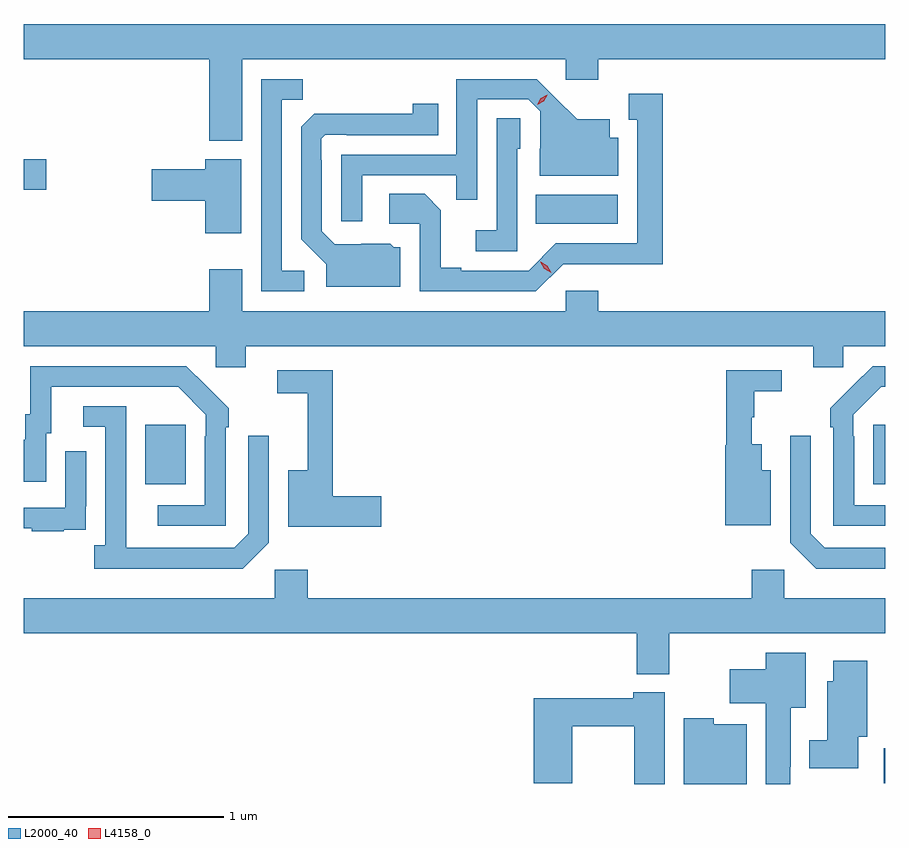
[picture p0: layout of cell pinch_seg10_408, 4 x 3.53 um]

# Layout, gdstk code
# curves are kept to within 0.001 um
import gdstk
lib = gdstk.Library(unit=1e-6, precision=1e-09)
def R(c, l, rs):  # rectangles x0, y0, x1, y1
    for r in rs: c.add(gdstk.rectangle(r[:2], r[2:], *l))
def P(c, l, *ps):  # polygons
    for p in ps: c.add(gdstk.Polygon(p, *l))
L2000_40 = (2000, 40)
L4158_0 = (4158, 0)

pinch_seg10_408 = lib.new_cell('pinch_seg10_408')
R(pinch_seg10_408, L2000_40, [(367.866,1318.268,367.874,1318.431), (364.439,1319.657,364.627,1319.932), (367.817,1319.657,367.874,1319.932), (366.25,1320.866,366.631,1321), (363.874,1321.022,363.979,1321.164)])
P(pinch_seg10_408, L2000_40, [(364.888,1321.628),(366.39,1321.628),(366.39,1321.533),(366.542,1321.533),(366.542,1321.628),(367.874,1321.628),(367.874,1321.792),(363.874,1321.792),(363.874,1321.628),(364.736,1321.628),(364.736,1321.25),(364.888,1321.25)],
  [(365.445,1321.089),(365.881,1321.089),(365.881,1320.976),(365.979,1320.976),(365.979,1321.443),(366.216,1321.443),(366.273,1321.386),(366.273,1321.212),(366.269,1321.212),(366.269,1321.088),(366.634,1321.088),(366.634,1321.264),(366.595,1321.264),(366.595,1321.351),(366.443,1321.351),(366.256,1321.536),(365.883,1321.536),(365.883,1321.185),(365.349,1321.185),(365.349,1320.876),(365.445,1320.876)],
  [(365.176,1320.648),(365.073,1320.648),(365.073,1321.441),(365.169,1321.441),(365.169,1321.536),(364.977,1321.536),(364.977,1320.552),(365.176,1320.552)],
  [(366.378,1320.678),(366.841,1320.677),(366.841,1321.468),(366.683,1321.468),(366.683,1321.347),(366.722,1321.347),(366.722,1320.774),(366.345,1320.774),(366.219,1320.648),(365.905,1320.648),(365.905,1320.661),(365.811,1320.661),(365.811,1320.928),(365.735,1321.004),(365.571,1321.004),(365.571,1320.864),(365.712,1320.864),(365.712,1320.552),(366.252,1320.552)],
  [(365.623,1320.756),(365.592,1320.756),(365.576,1320.772),(365.319,1320.771),(365.259,1320.831),(365.259,1321.16),(365.256,1321.16),(365.256,1321.26),(365.274,1321.278),(365.374,1321.278),(365.374,1321.275),(365.798,1321.275),(365.798,1321.423),(365.68,1321.423),(365.68,1321.376),(365.222,1321.375),(365.163,1321.316),(365.163,1320.794),(365.279,1320.678),(365.279,1320.572),(365.623,1320.572)],
  [(366.165,1321.212),(366.18,1321.212),(366.18,1321.355),(366.069,1321.355),(366.069,1320.835),(365.973,1320.835),(365.973,1320.738),(366.165,1320.738)],
  [(364.885,1321.165),(364.718,1321.165),(364.718,1321.118),(364.47,1321.118),(364.47,1320.971),(364.718,1320.971),(364.718,1320.822),(364.885,1320.822)],
  [(366.39,1320.553),(366.39,1320.46),(364.888,1320.46),(364.888,1320.655),(364.736,1320.655),(364.736,1320.46),(363.874,1320.46),(363.874,1320.296),(364.767,1320.296),(364.767,1320.198),(364.906,1320.198),(364.906,1320.296),(367.538,1320.296),(367.538,1320.198),(367.677,1320.198),(367.677,1320.296),(367.874,1320.296),(367.874,1320.46),(366.542,1320.46),(366.542,1320.553)],
  [(364.812,1319.921),(364.827,1319.921),(364.827,1320.009),(364.63,1320.204),(363.906,1320.204),(363.906,1319.982),(363.881,1319.982),(363.881,1319.863),(363.874,1319.863),(363.874,1319.667),(363.979,1319.667),(363.979,1319.892),(364.003,1319.892),(364.003,1320.108),(364.591,1320.108),(364.719,1319.979),(364.719,1319.879),(364.716,1319.879),(364.716,1319.559),(364.497,1319.559),(364.497,1319.463),(364.812,1319.463)],
  [(367.874,1319.559),(367.728,1319.559),(367.728,1319.879),(367.725,1319.879),(367.725,1319.979),(367.854,1320.108),(367.874,1320.108),(367.874,1320.204),(367.814,1320.204),(367.617,1320.009),(367.617,1319.921),(367.632,1319.921),(367.632,1319.463),(367.874,1319.463)],
  [(365.533,1319.6),(365.309,1319.6),(365.309,1320.186),(365.052,1320.186),(365.052,1320.078),(365.192,1320.078),(365.192,1319.722),(365.102,1319.722),(365.102,1319.458),(365.533,1319.458)],
  [(367.342,1319.722),(367.3,1319.722),(367.3,1319.842),(367.253,1319.842),(367.253,1319.966),(367.264,1319.966),(367.264,1320.088),(367.393,1320.088),(367.393,1320.186),(367.135,1320.186),(367.135,1319.838),(367.13,1319.838),(367.13,1319.465),(367.342,1319.465)],
  [(365.013,1319.385),(365.013,1319.881),(364.917,1319.881),(364.917,1319.427),(364.851,1319.361),(364.351,1319.361),(364.35,1320.018),(364.152,1320.018),(364.152,1319.922),(364.254,1319.922),(364.254,1319.374),(364.203,1319.374),(364.203,1319.264),(364.892,1319.264)],
  [(367.874,1319.361),(367.593,1319.361),(367.527,1319.427),(367.527,1319.881),(367.431,1319.881),(367.431,1319.385),(367.552,1319.264),(367.874,1319.264)],
  [(364.061,1319.445),(364.163,1319.445),(364.163,1319.554),(364.164,1319.554),(364.164,1319.809),(364.068,1319.809),(364.068,1319.547),(363.874,1319.547),(363.874,1319.451),(363.913,1319.451),(363.913,1319.439),(364.061,1319.439)],
  [(366.871,1318.964),(367.874,1318.964),(367.874,1319.128),(367.404,1319.128),(367.404,1319.26),(367.253,1319.26),(367.253,1319.128),(365.192,1319.128),(365.192,1319.26),(365.04,1319.26),(365.04,1319.128),(363.874,1319.128),(363.874,1318.964),(366.719,1318.964),(366.719,1318.775),(366.871,1318.775)],
  [(367.431,1318.345),(367.435,1318.345),(367.435,1318.619),(367.504,1318.619),(367.504,1318.873),(367.319,1318.873),(367.319,1318.798),(367.152,1318.798),(367.152,1318.64),(367.319,1318.64),(367.319,1318.265),(367.431,1318.265)],
  [(367.747,1318.484),(367.789,1318.484),(367.789,1318.837),(367.631,1318.837),(367.631,1318.743),(367.604,1318.743),(367.604,1318.468),(367.52,1318.468),(367.52,1318.337),(367.747,1318.337)],
  [(366.85,1318.69),(366.704,1318.69),(366.704,1318.663),(366.242,1318.663),(366.242,1318.269),(366.42,1318.269),(366.42,1318.534),(366.709,1318.534),(366.709,1318.265),(366.85,1318.265)],
  [(367.231,1318.543),(367.077,1318.543),(367.077,1318.57),(366.938,1318.57),(366.938,1318.265),(367.231,1318.265)])
P(pinch_seg10_408, L4158_0, [(366.322,1320.637),(366.29,1320.656),(366.273,1320.688),(366.273,1320.689),(366.274,1320.689),(366.305,1320.669),(366.322,1320.637),(366.322,1320.637)],
  [(366.258,1321.418),(366.258,1321.418),(366.275,1321.448),(366.305,1321.463),(366.305,1321.463),(366.305,1321.462),(366.288,1321.433),(366.258,1321.418)])

lib.write_gds('pinch_seg10_408.gds')
